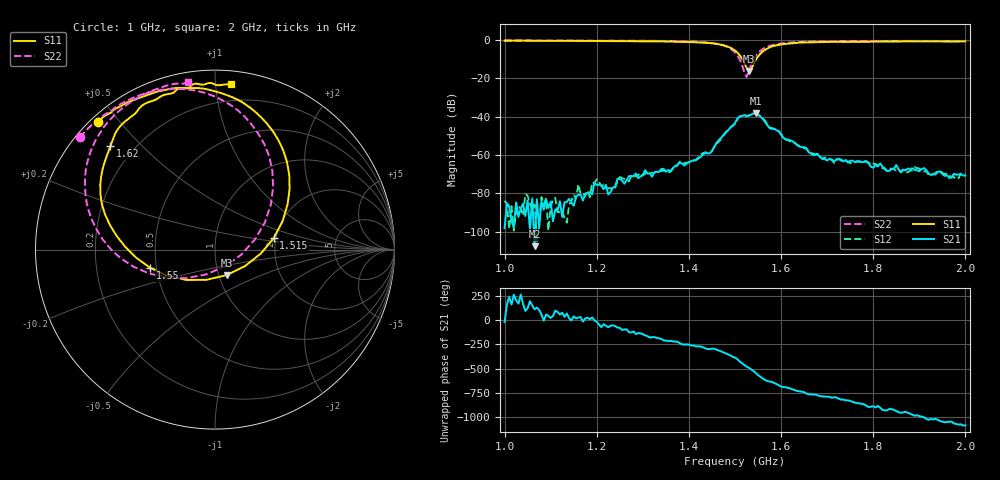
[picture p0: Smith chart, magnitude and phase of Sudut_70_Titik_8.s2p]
# Hz S RI R 50
! CMT, C1220, 16058040, 17.2.0/1
! Date: 14/08/2018 12:05:04
! Data: Format (Calibration Info)
! Freq  S11: Re/Im (F2)  S21: Re/Im (F2)  S12: Re/Im (F2)  S22: Re/Im (F2)
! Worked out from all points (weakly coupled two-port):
!   201 points, 1 GHz to 2 GHz, reference 50 ohm
!   highest |S21| = -38.05 dB at 1.545 GHz (marker M1); lowest = -107.5 dB at 1.065 GHz (marker M2)
!   lowest |S11| = -16.1 dB at 1.53 GHz (marker M3), VSWR 1.37, Z = 54.4 - j15.9 ohm
!   |S11| at or under -10 dB: 1.516 GHz to 1.546 GHz (29.98 MHz wide, 1.96 % of centre)
!   |S22| runs from -19.3 to -0.2 dB; largest |S21 - S12| = 0.00049
!   S11 on the Smith chart (normalised r, x): 1 GHz: 0.02, +0.44; 1.515 GHz: 1.95, +0.28; 1.55 GHz: 0.46, -0.11; 1.62 GHz: 0.12, +0.41; 2 GHz: 0.09, +1.09
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1e9  -0.6539 0.7097  1.18e-05 -3.77e-06  -6.41e-05 -8.23e-06  -0.7534 0.6257
1.065e9  -0.5897 0.758  -1.71e-06 3.86e-06  -4.03e-06 5.13e-05  -0.7082 0.6742
1.155e9  -0.5027 0.813  7.78e-05 2.81e-05  5.87e-05 4.5e-05  -0.6315 0.7407
1.16e9  -0.4982 0.8153  8.07e-05 4.42e-05  0.000164 4.92e-05  -0.6267 0.7445
1.17e9  -0.4857 0.8213  6.38e-05 -1.48e-05  0.000101 -9.06e-06  -0.6161 0.7516
1.185e9  -0.462 0.8304  0.000105 2.19e-05  7.79e-05 -1.51e-05  -0.5988 0.7609
1.2e9  -0.4443 0.8365  0.00016 -4.34e-05  0.000228 -5.7e-05  -0.5823 0.765
1.23e9  -0.4068 0.8508  6.24e-05 -8.97e-05  2.33e-05 -0.000133  -0.5602 0.7886
1.245e9  -0.3772 0.8608  6.22e-05 -0.000231  5.33e-05 -0.000211  -0.5421 0.8006
1.335e9  -0.2288 0.8991  -0.000358 4.28e-05  -0.000379 9.1e-05  -0.3998 0.8664
1.445e9  0.1468 0.824  0.000516 0.000985  0.000594 0.00097  -0.00642 0.8552
1.5e9  0.4156 0.3379  0.00627 -0.00291  0.00592 -0.00278  0.3238 0.3488
1.515e9  0.327 0.064  0.00137 -0.0104  0.00164 -0.0105  0.2228 0.0569
1.525e9  0.1673 -0.0921  -0.00513 -0.00911  -0.00514 -0.00921  0.0523 -0.0956
1.53e9  0.0641 -0.1423  -0.00688 -0.00829  -0.00695 -0.00832  -0.0543 -0.1397
1.545e9  -0.266 -0.1456  -0.0125 0.00119  -0.0123 0.000856  -0.37 -0.1318
1.55e9  -0.3609 -0.1017  -0.0102 0.00506  -0.0104 0.00465  -0.454 -0.0951
1.62e9  -0.5823 0.5768  0.00235 0.000627  0.00222 0.000568  -0.7086 0.4961
1.67e9  -0.4605 0.7454  0.000677 -0.000727  0.000776 -0.000759  -0.6258 0.6733
1.835e9  -0.1599 0.8981  -0.000372 0.000113  -0.000452 6.95e-05  -0.375 0.8748
1.98e9  0.0561 0.9198  0.000307 4.5e-05  0.000224 6.44e-05  -0.1745 0.925
2e9  0.0866 0.9205  0.000292 -3.11e-05  0.000329 -6.95e-05  -0.1507 0.9337
